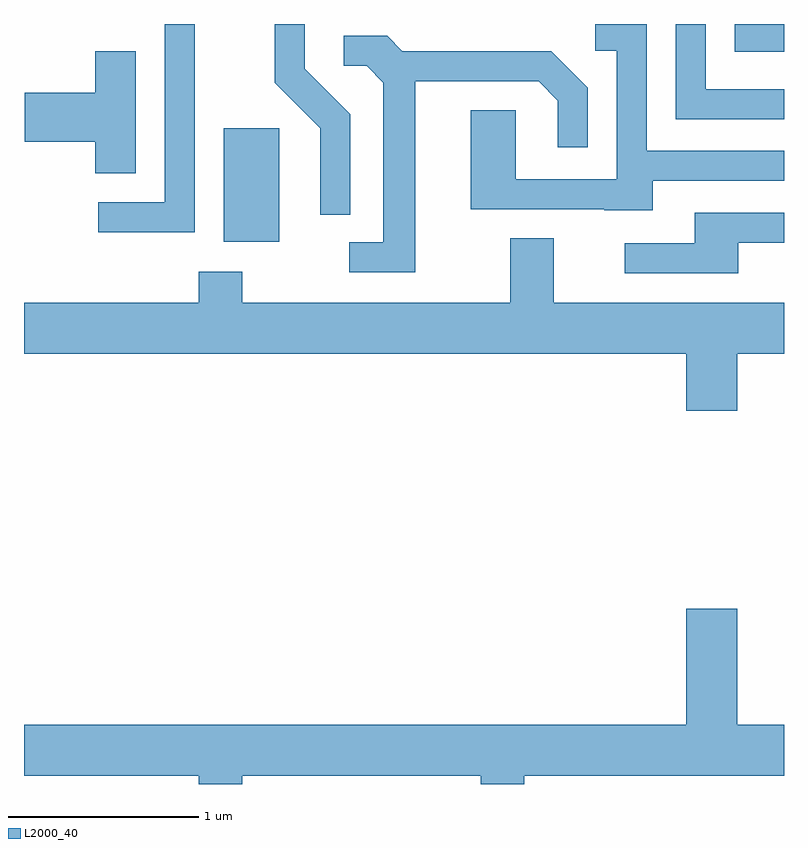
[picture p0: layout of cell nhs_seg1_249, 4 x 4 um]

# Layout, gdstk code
import gdstk
lib = gdstk.Library(unit=1e-6, precision=1e-09)
def R(c, l, rs):  # rectangles x0, y0, x1, y1
    for r in rs: c.add(gdstk.rectangle(r[:2], r[2:], *l))
def P(c, l, *ps):  # polygons
    for p in ps: c.add(gdstk.Polygon(p, *l))
L2000_40 = (2000, 40)

nhs_seg1_249 = lib.new_cell('nhs_seg1_249')
R(nhs_seg1_249, L2000_40, [(192.661,944.566,192.954,945.164), (195.351,945.566,195.611,945.712)])
P(nhs_seg1_249, L2000_40, [(192.509,945.712),(192.351,945.712),(192.351,944.774),(192.003,944.774),(192.003,944.616),(192.509,944.616)],
  [(193.329,945.237),(193.089,945.477),(193.089,945.712),(192.931,945.712),(192.931,945.404),(193.171,945.164),(193.171,944.708),(193.329,944.708)],
  [(195.611,945.369),(195.199,945.369),(195.199,945.712),(195.041,945.712),(195.041,945.211),(195.611,945.211)],
  [(194.919,944.886),(195.611,944.886),(195.611,945.044),(194.889,945.044),(194.889,945.712),(194.618,945.712),(194.618,945.571),(194.731,945.571),(194.731,944.894),(194.199,944.894),(194.199,945.259),(193.961,945.259),(193.961,944.736),(194.665,944.736),(194.665,944.731),(194.919,944.731)],
  [(193.669,945.411),(194.319,945.411),(194.421,945.309),(194.421,945.063),(194.579,945.063),(194.579,945.377),(194.387,945.569),(193.602,945.569),(193.522,945.649),(193.293,945.649),(193.293,945.491),(193.414,945.491),(193.501,945.404),(193.501,944.564),(193.323,944.564),(193.323,944.406),(193.669,944.406)],
  [(192.199,945.569),(191.986,945.569),(191.986,945.349),(191.616,945.349),(191.616,945.091),(191.986,945.091),(191.986,944.926),(192.199,944.926)],
  [(195.369,944.561),(195.611,944.561),(195.611,944.719),(195.141,944.719),(195.141,944.559),(194.773,944.559),(194.773,944.401),(195.369,944.401)],
  [(195.364,943.976),(195.611,943.976),(195.611,944.244),(194.399,944.244),(194.399,944.584),(194.171,944.584),(194.171,944.244),(192.759,944.244),(192.759,944.409),(192.531,944.409),(192.531,944.244),(191.611,944.244),(191.611,943.976),(195.096,943.976),(195.096,943.676),(195.364,943.676)],
  [(192.759,941.756),(194.016,941.756),(194.016,941.712),(194.244,941.712),(194.244,941.756),(195.611,941.756),(195.611,942.024),(195.364,942.024),(195.364,942.634),(195.096,942.634),(195.096,942.024),(191.611,942.024),(191.611,941.756),(192.531,941.756),(192.531,941.712),(192.759,941.712)])

lib.write_gds('nhs_seg1_249.gds')
